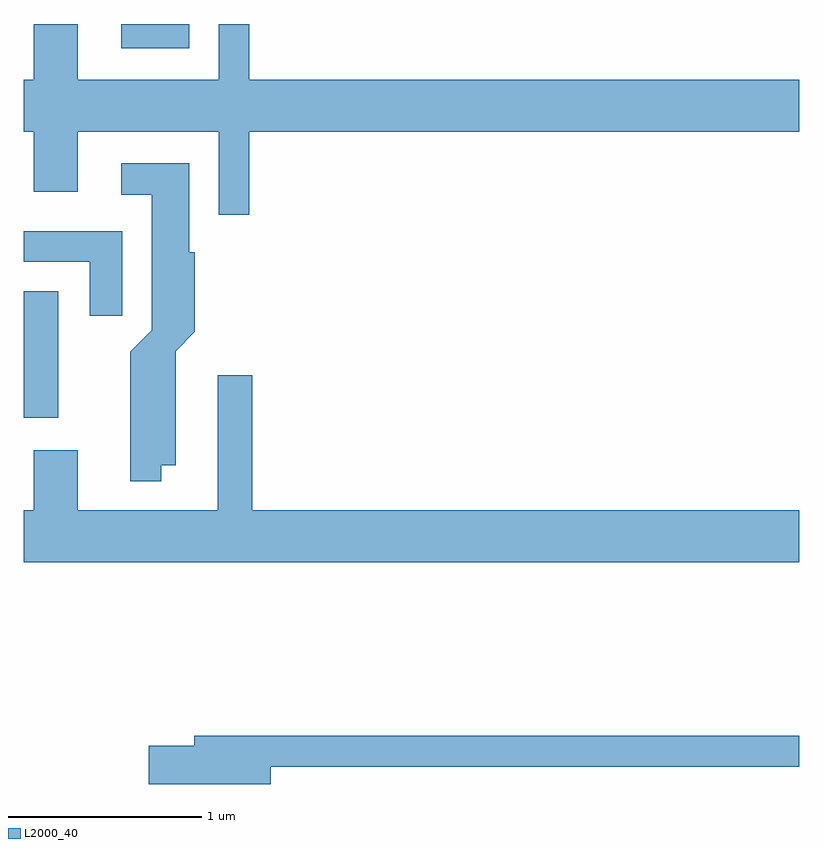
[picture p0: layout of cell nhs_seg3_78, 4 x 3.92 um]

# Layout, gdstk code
import gdstk
lib = gdstk.Library(unit=1e-6, precision=1e-09)
def R(c, l, rs):  # rectangles x0, y0, x1, y1
    for r in rs: c.add(gdstk.rectangle(r[:2], r[2:], *l))
def P(c, l, *ps):  # polygons
    for p in ps: c.add(gdstk.Polygon(p, *l))
L2000_40 = (2000, 40)

nhs_seg3_78 = lib.new_cell('nhs_seg3_78')
R(nhs_seg3_78, L2000_40, [(187.611,1137.861,187.789,1138.514), (188.113,1139.766,188.464,1139.892)])
P(nhs_seg3_78, L2000_40, [(188.774,1139.336),(191.611,1139.336),(191.611,1139.604),(188.774,1139.604),(188.774,1139.892),(188.616,1139.892),(188.616,1139.604),(187.889,1139.604),(187.889,1139.892),(187.661,1139.892),(187.661,1139.604),(187.611,1139.604),(187.611,1139.336),(187.661,1139.336),(187.661,1139.026),(187.889,1139.026),(187.889,1139.336),(188.616,1139.336),(188.616,1138.908),(188.774,1138.908)],
  [(188.319,1137.616),(188.394,1137.616),(188.394,1138.204),(188.494,1138.304),(188.494,1138.714),(188.464,1138.714),(188.464,1139.174),(188.113,1139.174),(188.113,1139.011),(188.271,1139.011),(188.271,1138.312),(188.161,1138.202),(188.161,1137.533),(188.319,1137.533)],
  [(188.119,1138.824),(187.611,1138.824),(187.611,1138.666),(187.951,1138.666),(187.951,1138.388),(188.119,1138.388)],
  [(191.611,1137.384),(188.789,1137.384),(188.789,1138.079),(188.611,1138.079),(188.611,1137.384),(187.889,1137.384),(187.889,1137.694),(187.661,1137.694),(187.661,1137.384),(187.611,1137.384),(187.611,1137.116),(191.611,1137.116)],
  [(188.884,1136.061),(191.611,1136.061),(191.611,1136.219),(188.491,1136.219),(188.491,1136.169),(188.256,1136.169),(188.256,1135.971),(188.884,1135.971)])

lib.write_gds('nhs_seg3_78.gds')
